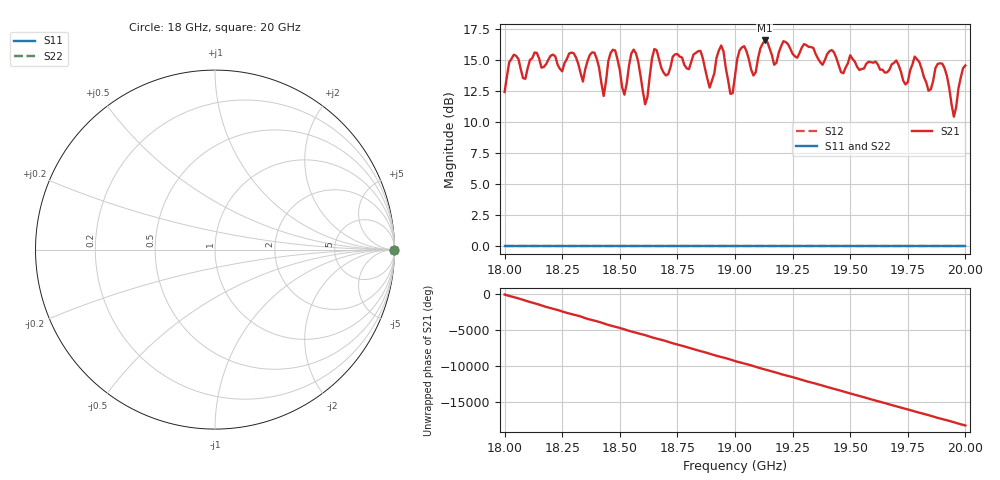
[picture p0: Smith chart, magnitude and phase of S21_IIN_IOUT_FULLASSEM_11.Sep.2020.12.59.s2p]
!Agilent N9918A: A.07.57
!Date: Friday, 11 September 2020 13:00:01
!Timezone: (GMT-08:00) Pacific Time (US & Canada)
!Model: N9918A
!Serial: MY53103598
!GPS Latitude:
!GPS Longitude:
!GPS TimeStamp: 0001-01-01 00:00:00Z
!GPS Seconds Since Last Read: 0
!CHECKSUM:0765859723
!Correction: S11()S21(Rdy)S12()S22()
!S2P File: Measurements:S11,S21,S12,S22:
# Hz S DB R 50
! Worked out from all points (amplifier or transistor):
!   201 points, 18 GHz to 20 GHz, reference 50 ohm
!   highest |S21| = 16.6 dB at 19.13 GHz (marker M1)
!   |S21| within 3 dB of that: 19 GHz to 19.73 GHz (728 MHz wide, 3.76 % of centre)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
!   unconditionally stable (mu >= 1): nowhere
!   at 18.33 GHz: K = 3.38, MSG = 7.0 dB, |S12| = 0.0 dB
!   at 19 GHz: K = 1.63, MSG = 6.9 dB, |S12| = 0.0 dB
!   at 20 GHz: K = 1.70, MSG = 7.3 dB, |S12| = 0.0 dB
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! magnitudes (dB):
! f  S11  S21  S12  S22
! 18 GHz  0.0  12.4  0.0  0.0
! 18.04 GHz  0.0  15.4  0.0  0.0
! 18.34 GHz  0.0  13.2  0.0  0.0
! 18.39 GHz  0.0  15.6  0.0  0.0
! 18.43 GHz  0.0  12.1  0.0  0.0
! 18.47 GHz  0.0  15.8  0.0  0.0
! 18.52 GHz  0.0  12.2  0.0  0.0
! 18.56 GHz  0.0  15.8  0.0  0.0
! 18.61 GHz  0.0  11.4  0.0  0.0
! 18.67 GHz  0.0  15.0  0.0  0.0
! 18.85 GHz  0.0  15.7  0.0  0.0
! 18.89 GHz  0.0  12.8  0.0  0.0
! 18.94 GHz  0.0  16.1  0.0  0.0
! 18.98 GHz  0.0  12.3  0.0  0.0
! 19 GHz  0.0  13.7  0.0  0.0
! 19.13 GHz  0.0  16.6  0.0  0.0
! 19.34 GHz  0.0  15.9  0.0  0.0
! 19.67 GHz  0.0  14.2  0.0  0.0
! 19.84 GHz  0.0  12.5  0.0  0.0
! 19.9 GHz  0.0  14.7  0.0  0.0
! 19.95 GHz  0.0  10.4  0.0  0.0
! 20 GHz  0.0  14.5  0.0  0.0
